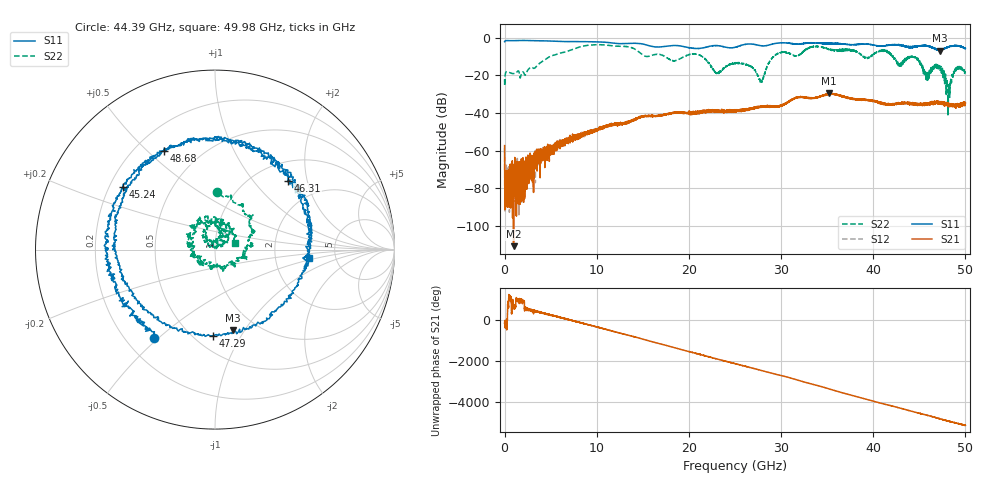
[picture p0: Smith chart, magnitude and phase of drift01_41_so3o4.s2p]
!Created with skrf (http://scikit-rf.org).
# Hz S RI R 50.0
!freq ReS11 ImS11 ReS21 ImS21 ReS12 ImS12 ReS22 ImS22
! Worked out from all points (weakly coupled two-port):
!   10001 points, 300 kHz to 50 GHz, reference 50 ohm
!   highest |S21| = -29.55 dB at 35.2 GHz (marker M1); lowest = -110.9 dB at 970.3 MHz (marker M2)
!   lowest |S11| = -6.7 dB at 47.2 GHz (marker M3), VSWR 2.71, Z = 39 - j44.6 ohm
!   |S11| at or under -10 dB: nowhere
!   |S22| runs from -41.0 to -3.6 dB; largest |S21 - S12| = 0.004
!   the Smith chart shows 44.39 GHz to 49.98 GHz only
!   S11 on the Smith chart (normalised r, x): 44.39 GHz: 0.31, -0.48; 45.24 GHz: 0.25, +0.29; 46.31 GHz: 1.38, +1.54; 47.29 GHz: 0.61, -0.77; 48.68 GHz: 0.31, +0.56; 49.98 GHz: 3.15, -0.40
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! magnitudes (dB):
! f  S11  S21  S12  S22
! 300 kHz  -2.1  -57.4  -58.6  -22.0
! 260.3 MHz  -1.4  -72.5  -84.9  -18.0
! 970.3 MHz  -1.5  -110.9  -70.7  -19.0
! 8.335 GHz  -2.0  -51.3  -51.0  -4.6
! 16.67 GHz  -4.8  -41.2  -41.4  -8.7
! 20.96 GHz  -5.6  -39.6  -39.9  -8.7
! 23.08 GHz  -4.2  -38.9  -38.8  -18.6
! 25 GHz  -5.0  -38.9  -39.0  -13.5
! 27.84 GHz  -4.1  -36.7  -36.8  -22.9
! 29.47 GHz  -2.9  -36.7  -36.5  -8.8
! 33.34 GHz  -2.6  -32.0  -32.0  -4.7
! 35.2 GHz  -3.1  -29.5  -29.9  -6.1
! 41.67 GHz  -3.9  -35.4  -35.5  -7.7
! 44.39 GHz  -4.5  -34.7  -35.0  -9.9
! 45.24 GHz  -4.1  -35.2  -35.6  -14.8
! 46.31 GHz  -5.0  -34.9  -34.9  -17.0
! 47.2 GHz  -6.7  -34.5  -34.3  -15.6
! 47.29 GHz  -6.4  -34.4  -34.7  -16.1
! 48.13 GHz  -4.8  -34.4  -35.4  -34.2
! 48.68 GHz  -4.2  -35.8  -35.4  -19.3
! 49.98 GHz  -5.6  -34.5  -34.5  -18.5
! 50 GHz  -5.6  -34.7  -34.7  -18.3
